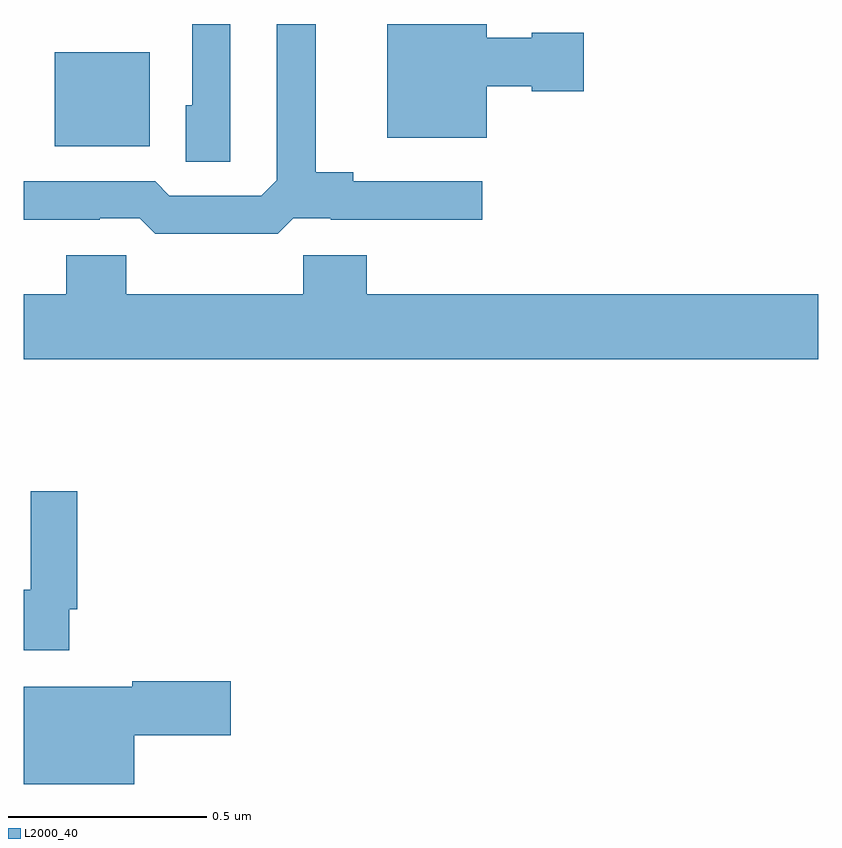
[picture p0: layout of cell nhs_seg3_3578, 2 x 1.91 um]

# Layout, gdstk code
import gdstk
lib = gdstk.Library(unit=1e-6, precision=1e-09)
def R(c, l, rs):  # rectangles x0, y0, x1, y1
    for r in rs: c.add(gdstk.rectangle(r[:2], r[2:], *l))
def P(c, l, *ps):  # polygons
    for p in ps: c.add(gdstk.Polygon(p, *l))
L2000_40 = (2000, 40)

nhs_seg3_3578 = lib.new_cell('nhs_seg3_3578')
R(nhs_seg3_3578, L2000_40, [(155.078,728.093,155.317,728.329)])
P(nhs_seg3_3578, L2000_40, [(155.52,728.4),(155.424,728.4),(155.424,728.196),(155.408,728.196),(155.408,728.053),(155.52,728.053)],
  [(156.166,728.243),(156.279,728.243),(156.279,728.231),(156.409,728.231),(156.409,728.378),(156.279,728.378),(156.279,728.365),(156.166,728.365),(156.166,728.4),(155.915,728.4),(155.915,728.114),(156.166,728.114)],
  [(155.679,727.911),(155.773,727.911),(155.773,727.907),(156.154,727.907),(156.154,728.004),(155.83,728.004),(155.83,728.027),(155.735,728.027),(155.735,728.4),(155.637,728.4),(155.637,728.007),(155.598,727.968),(155.367,727.968),(155.331,728.004),(155,728.004),(155,727.907),(155.192,727.907),(155.192,727.911),(155.292,727.911),(155.332,727.872),(155.639,727.872)],
  [(157,727.72),(155.864,727.72),(155.864,727.818),(155.704,727.818),(155.704,727.72),(155.259,727.72),(155.259,727.818),(155.108,727.818),(155.108,727.72),(155,727.72),(155,727.556),(157,727.556)],
  [(155.115,726.928),(155.135,726.928),(155.135,727.225),(155.018,727.225),(155.018,726.977),(155,726.977),(155,726.824),(155.115,726.824)],
  [(155.278,726.611),(155.521,726.611),(155.521,726.746),(155.274,726.746),(155.274,726.733),(155,726.733),(155,726.488),(155.278,726.488)])

lib.write_gds('nhs_seg3_3578.gds')
